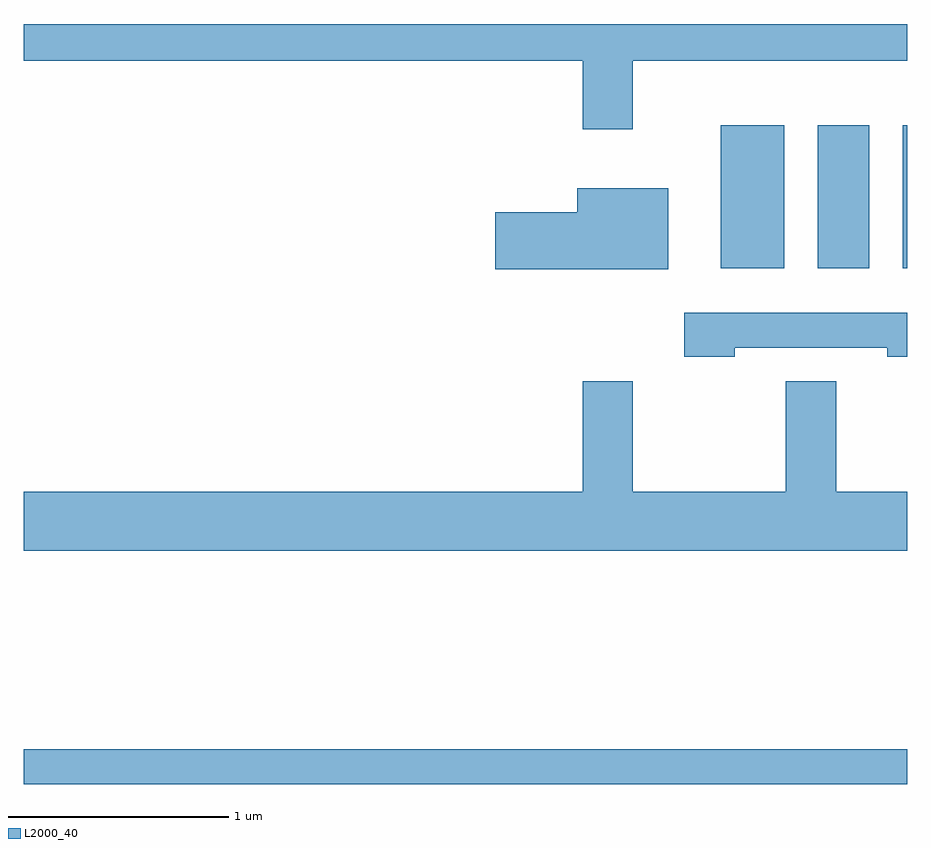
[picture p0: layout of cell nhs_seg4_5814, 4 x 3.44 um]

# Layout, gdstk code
import gdstk
lib = gdstk.Library(unit=1e-6, precision=1e-09)
def R(c, l, rs):  # rectangles x0, y0, x1, y1
    for r in rs: c.add(gdstk.rectangle(r[:2], r[2:], *l))
def P(c, l, *ps):  # polygons
    for p in ps: c.add(gdstk.Polygon(p, *l))
L2000_40 = (2000, 40)

nhs_seg4_5814 = lib.new_cell('nhs_seg4_5814')
R(nhs_seg4_5814, L2000_40, [(355.611,1322.541,359.611,1322.699), (358.766,1324.876,359.054,1325.524), (359.206,1324.876,359.439,1325.524), (359.591,1324.876,359.611,1325.524)])
P(nhs_seg4_5814, L2000_40, [(358.369,1325.816),(359.611,1325.816),(359.611,1325.982),(355.611,1325.982),(355.611,1325.816),(358.141,1325.816),(358.141,1325.506),(358.369,1325.506)],
  [(358.529,1325.239),(358.116,1325.239),(358.116,1325.129),(357.746,1325.129),(357.746,1324.871),(358.529,1324.871)],
  [(358.829,1324.516),(359.521,1324.516),(359.521,1324.476),(359.611,1324.476),(359.611,1324.674),(358.601,1324.674),(358.601,1324.476),(358.829,1324.476)],
  [(359.611,1323.864),(359.289,1323.864),(359.289,1324.364),(359.061,1324.364),(359.061,1323.864),(358.369,1323.864),(358.369,1324.364),(358.141,1324.364),(358.141,1323.864),(355.611,1323.864),(355.611,1323.596),(359.611,1323.596)])

lib.write_gds('nhs_seg4_5814.gds')
